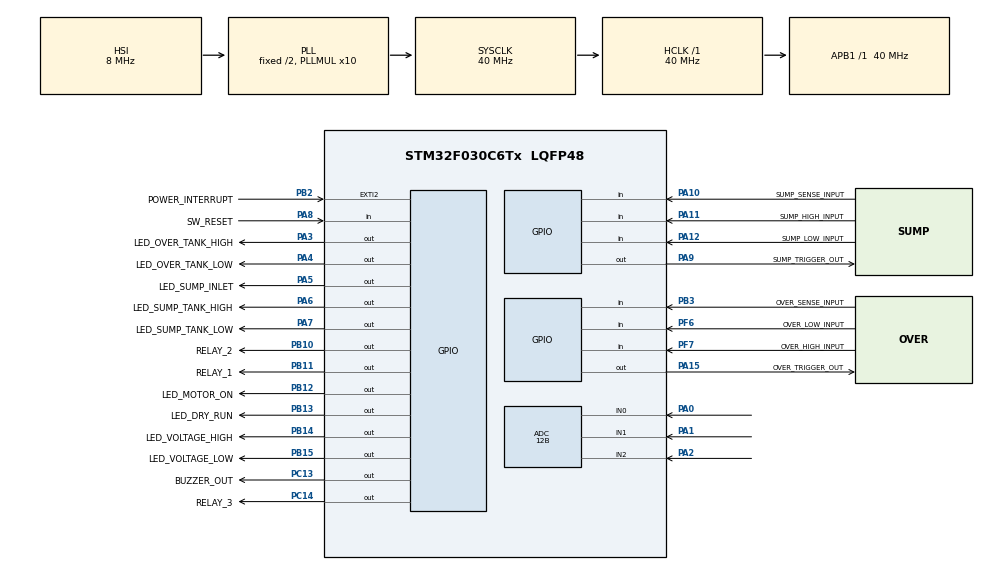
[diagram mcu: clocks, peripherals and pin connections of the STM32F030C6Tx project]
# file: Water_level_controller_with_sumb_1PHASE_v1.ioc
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ADC.ClockPrescaler=ADC_CLOCK_SYNC_PCLK_DIV4
ADC.ContinuousConvMode=DISABLE
ADC.DMAContinuousRequests=ENABLE
ADC.DataAlign=ADC_DATAALIGN_RIGHT
ADC.DiscontinuousConvMode=DISABLE
ADC.EOCSelection=ADC_EOC_SEQ_CONV
ADC.EnableAnalogWatchDog=false
ADC.ExternalTrigConv=ADC_EXTERNALTRIGCONV_T3_TRGO
ADC.ExternalTrigConvEdge=ADC_EXTERNALTRIGCONVEDGE_RISING
ADC.LowPowerAutoPowerOff=DISABLE
ADC.LowPowerAutoWait=DISABLE
ADC.Overrun=ADC_OVR_DATA_PRESERVED
ADC.Resolution=ADC_RESOLUTION_12B
ADC.SamplingTime=ADC_SAMPLETIME_239CYCLES_5
ADC.ScanConvMode=ADC_SCAN_DIRECTION_FORWARD
Dma.ADC.0.Direction=DMA_PERIPH_TO_MEMORY
Dma.ADC.0.Instance=DMA1_Channel1
Dma.ADC.0.MemDataAlignment=DMA_MDATAALIGN_HALFWORD
Dma.ADC.0.MemInc=DMA_MINC_ENABLE
Dma.ADC.0.Mode=DMA_CIRCULAR
Dma.ADC.0.PeriphDataAlignment=DMA_PDATAALIGN_HALFWORD
Dma.ADC.0.PeriphInc=DMA_PINC_DISABLE
Dma.ADC.0.Priority=DMA_PRIORITY_LOW
Dma.Request0=ADC
Mcu.Family=STM32F0
Mcu.Name=STM32F030C6Tx
Mcu.Package=LQFP48
NVIC.DMA1_Channel1_IRQn=true\:0\:0\:false\:false\:true\:false
NVIC.EXTI2_3_IRQn=true\:3\:0\:true\:false\:true\:true
NVIC.TIM14_IRQn=true\:0\:0\:false\:false\:true\:true
NVIC.TIM16_IRQn=true\:0\:0\:false\:false\:true\:true
NVIC.TIM1_BRK_UP_TRG_COM_IRQn=true\:0\:0\:false\:false\:true\:true
PA0.Mode=IN0
PA0.Signal=ADC_IN0
PA1.Mode=IN1
PA1.Signal=ADC_IN1
PA10.GPIO_Label=SUMP_SENSE_INPUT
PA10.GPIO_PuPd=GPIO_PULLUP
PA10.Signal=GPIO_Input
PA11.GPIO_Label=SUMP_HIGH_INPUT
PA11.GPIO_PuPd=GPIO_PULLUP
PA11.Signal=GPIO_Input
PA12.GPIO_Label=SUMP_LOW_INPUT
PA12.GPIO_PuPd=GPIO_PULLUP
PA12.Signal=GPIO_Input
PA13.Mode=Serial_Wire
PA13.Signal=SYS_SWDIO
PA14.Mode=Serial_Wire
PA14.Signal=SYS_SWCLK
PA15.GPIO_Label=OVER_TRIGGER_OUT
PA15.GPIO_Speed=GPIO_SPEED_FREQ_LOW
PA15.Signal=GPIO_Output
PA2.Mode=IN2
PA2.Signal=ADC_IN2
PA3.GPIO_Label=LED_OVER_TANK_HIGH
PA3.GPIO_ModeDefaultOutputPP=GPIO_MODE_OUTPUT_OD
PA3.Signal=GPIO_Output
PA4.GPIO_Label=LED_OVER_TANK_LOW
PA4.GPIO_ModeDefaultOutputPP=GPIO_MODE_OUTPUT_OD
PA4.Signal=GPIO_Output
PA5.GPIO_Label=LED_SUMP_INLET
PA5.GPIO_ModeDefaultOutputPP=GPIO_MODE_OUTPUT_OD
PA5.Signal=GPIO_Output
PA6.GPIO_Label=LED_SUMP_TANK_HIGH
PA6.GPIO_ModeDefaultOutputPP=GPIO_MODE_OUTPUT_OD
PA6.Signal=GPIO_Output
PA7.GPIO_Label=LED_SUMP_TANK_LOW
PA7.GPIO_ModeDefaultOutputPP=GPIO_MODE_OUTPUT_OD
PA7.Signal=GPIO_Output
PA8.GPIO_Label=SW_RESET
PA8.GPIO_PuPd=GPIO_PULLUP
PA8.Signal=GPIO_Input
PA9.GPIO_Label=SUMP_TRIGGER_OUT
PA9.Signal=GPIO_Output
PB10.GPIO_Label=RELAY_2
PB10.Signal=GPIO_Output
PB11.GPIO_Label=RELAY_1
PB11.Signal=GPIO_Output
PB12.GPIO_Label=LED_MOTOR_ON
PB12.GPIO_ModeDefaultOutputPP=GPIO_MODE_OUTPUT_OD
PB12.Signal=GPIO_Output
PB13.GPIO_Label=LED_DRY_RUN
PB13.GPIO_ModeDefaultOutputPP=GPIO_MODE_OUTPUT_OD
PB13.Signal=GPIO_Output
PB14.GPIO_Label=LED_VOLTAGE_HIGH
PB14.GPIO_ModeDefaultOutputPP=GPIO_MODE_OUTPUT_OD
PB14.Signal=GPIO_Output
PB15.GPIO_Label=LED_VOLTAGE_LOW
PB15.GPIO_ModeDefaultOutputPP=GPIO_MODE_OUTPUT_OD
PB15.Signal=GPIO_Output
PB2.GPIO_Label=POWER_INTERRUPT
PB2.GPIO_ModeDefaultEXTI=GPIO_MODE_IT_FALLING
PB2.GPIO_PuPd=GPIO_NOPULL
PB2.Signal=GPXTI2
PB3.GPIO_Label=OVER_SENSE_INPUT
PB3.GPIO_PuPd=GPIO_PULLUP
PB3.Signal=GPIO_Input
PC13.GPIO_Label=BUZZER_OUT
PC13.GPIO_ModeDefaultOutputPP=GPIO_MODE_OUTPUT_PP
PC13.Signal=GPIO_Output
PC14-OSC32_IN.GPIO_Label=RELAY_3
PC14-OSC32_IN.Signal=GPIO_Output
PF6.GPIO_Label=OVER_LOW_INPUT
PF6.GPIO_PuPd=GPIO_PULLUP
PF6.Signal=GPIO_Input
PF7.GPIO_Label=OVER_HIGH_INPUT
PF7.GPIO_PuPd=GPIO_PULLUP
PF7.Signal=GPIO_Input
ProjectManager.HeapSize=0x200
ProjectManager.StackSize=0x400
ProjectManager.TargetToolchain=TrueSTUDIO
RCC.AHBFreq_Value=40000000
RCC.APB1Freq_Value=40000000
RCC.APB1TimFreq_Value=40000000
RCC.HCLKFreq_Value=40000000
RCC.PLLMUL=RCC_PLL_MUL10
RCC.SYSCLKFreq_VALUE=40000000
RCC.SYSCLKSource=RCC_SYSCLKSOURCE_PLLCLK
TIM1.ClockDivision=TIM_CLOCKDIVISION_DIV1
TIM1.Period=1001
TIM1.Prescaler=40000
TIM1.TIM_MasterOutputTrigger=TIM_TRGO_UPDATE
TIM14.ClockDivision=TIM_CLOCKDIVISION_DIV1
TIM14.Period=2001
TIM14.Prescaler=40000
TIM16.ClockDivision=TIM_CLOCKDIVISION_DIV1
TIM16.Period=1001
TIM16.Prescaler=40000
TIM3.ClockDivision=TIM_CLOCKDIVISION_DIV4
TIM3.Period=30000
TIM3.Prescaler=500
TIM3.TIM_MasterOutputTrigger=TIM_TRGO_UPDATE
VP_RTC_VS_RTC_Activate.Mode=RTC_Enabled
VP_RTC_VS_RTC_Calendar.Mode=RTC_Calendar
VP_TIM14_VS_ClockSourceINT.Mode=Enable_Timer
VP_TIM16_VS_ClockSourceINT.Mode=Enable_Timer
VP_TIM1_VS_ClockSourceINT.Mode=Internal
VP_TIM3_VS_ClockSourceINT.Mode=Internal
board=custom

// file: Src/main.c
/**
  ******************************************************************************
  * @file           : main.c
  * @brief          : Main program body
  ******************************************************************************
  ** This notice applies to any and all portions of this file
  * that are not between comment pairs USER CODE BEGIN and
  * USER CODE END. Other portions of this file, whether
  * inserted by the user or by software development tools
  * are owned by their respective copyright owners.
  *
  * COPYRIGHT(c) 2019 STMicroelectronics
  *
  * Redistribution and use in source and binary forms, with or without modification,
  * are permitted provided that the following conditions are met:
  *   1. Redistributions of source code must retain the above copyright notice,
  *      this list of conditions and the following disclaimer.
  *   2. Redistributions in binary form must reproduce the above copyright notice,
  *      this list of conditions and the following disclaimer in the documentation
  *      and/or other materials provided with the distribution.
  *   3. Neither the name of STMicroelectronics nor the names of its contributors
  *      may be used to endorse or promote products derived from this software
  *      without specific prior written permission.
  *
  * THIS SOFTWARE IS PROVIDED BY THE COPYRIGHT HOLDERS AND CONTRIBUTORS "AS IS"
  * AND ANY EXPRESS OR IMPLIED WARRANTIES, INCLUDING, BUT NOT LIMITED TO, THE
  * IMPLIED WARRANTIES OF MERCHANTABILITY AND FITNESS FOR A PARTICULAR PURPOSE ARE
  * DISCLAIMED. IN NO EVENT SHALL THE COPYRIGHT HOLDER OR CONTRIBUTORS BE LIABLE
  * FOR ANY DIRECT, INDIRECT, INCIDENTAL, SPECIAL, EXEMPLARY, OR CONSEQUENTIAL
  * DAMAGES (INCLUDING, BUT NOT LIMITED TO, PROCUREMENT OF SUBSTITUTE GOODS OR
  * SERVICES; LOSS OF USE, DATA, OR PROFITS; OR BUSINESS INTERRUPTION) HOWEVER
  * CAUSED AND ON ANY THEORY OF LIABILITY, WHETHER IN CONTRACT, STRICT LIABILITY,
  * OR TORT (INCLUDING NEGLIGENCE OR OTHERWISE) ARISING IN ANY WAY OUT OF THE USE
  * OF THIS SOFTWARE, EVEN IF ADVISED OF THE POSSIBILITY OF SUCH DAMAGE.
  *
  ******************************************************************************
  */
#include "main.h"
#include "stm32f0xx_hal.h"

/* USER CODE BEGIN Includes */
#include "stdbool.h"
#include "eeprom.h"
#define LOW_VOLTAGE  180         //MACRO FOR LOW VOLTAGE LEVEL
#define OVER_VOLTAGE 250         //MACRO FOR HIGH VOLTAGE LEVEL

/* USER CODE END Includes */

ADC_HandleTypeDef hadc;
DMA_HandleTypeDef hdma_adc;
RTC_HandleTypeDef hrtc;
TIM_HandleTypeDef htim1;
TIM_HandleTypeDef htim3;
TIM_HandleTypeDef htim14;
TIM_HandleTypeDef htim16;

/* USER CODE BEGIN PV */
/* Private variables ---------------------------------------------------------*/
RTC_TimeTypeDef sTime,bTime;
RTC_DateTypeDef sDate;
uint16_t adc_raw[3],Phase_voltage;
uint8_t Adc_sample = 1;
uint32_t Avg_voltage = 0 ;
uint8_t  Over_tank_level  = 0 ,Sump_tank_level = 0 ;
int32_t  Restart_time , Dry_run_time ,Dry_run_count,Restart_time_count;
bool Motor_auto_start =false  , Motor_on = false ,Over_tank_water_flow = false,Sump_tank_water_flow = false , Dry_run_wait = true ,Dry_run_error = false,Power_interrupt_state = false, Water_sump_indiaction = false ;
uint16_t VirtAddVarTab[NB_OF_VAR] = {0x1000,0x1001,0x1002,0x1003,0x1004,0x1005,0x1006,0x1008,0x1009,0x1010};
uint16_t VarDataTab[NB_OF_VAR]    = {1,2,3,4,5,6,7,8,9,10,11};
uint16_t VarValue = 0;

/* USER CODE END PV */

void SystemClock_Config(void);
static void MX_GPIO_Init(void);
static void MX_DMA_Init(void);
static void MX_ADC_Init(void);
static void MX_TIM3_Init(void);
static void MX_TIM14_Init(void);
static void MX_RTC_Init(void);
static void MX_TIM1_Init(void);
static void MX_TIM16_Init(void);

/* USER CODE BEGIN PFP */
/* Private function prototypes -----------------------------------------------*/

//HAL_GPIO_EXTI_Callback(POWER_INTERRUPT_Pin)
//{
//
//
//
//}

void HAL_ADC_ConvCpltCallback(ADC_HandleTypeDef *hadc) //adc with dma ISR
{

Adc_sample ++;
Avg_voltage += adc_raw[0];
if(Adc_sample>=10)
{
	Phase_voltage  = (Avg_voltage/Adc_sample)/10;
	Phase_voltage += 10;
	Avg_voltage    = 0 ;
	Adc_sample     = 0 ;
}

}

void Get_time_date() // get time and date from rtc
{

HAL_RTC_GetTime(&hrtc,&sTime,RTC_FORMAT_BIN);
HAL_RTC_GetDate(&hrtc,&sDate,RTC_FORMAT_BIN);

}

void Buzzer_sound(uint8_t Pulse , uint32_t Delay)
{

for(uint8_t i = 0 ; i<Pulse;i++)
{
HAL_GPIO_WritePin(GPIOC,BUZZER_OUT_Pin,GPIO_PIN_SET);
HAL_Delay(Delay);
HAL_GPIO_WritePin(GPIOC,BUZZER_OUT_Pin,GPIO_PIN_RESET);
HAL_Delay(Delay);
}

}

int32_t Map(int32_t x, int32_t in_min, int32_t in_max, int32_t out_min, int32_t out_max)
{
  return (x - in_min) * (out_max - out_min) / (in_max - in_min) + out_min;
}

void motor_control_loop() // motor control function for turn on and off motor
{

   	if(Motor_on == false)
    	{
   	     Buzzer_sound(1,300);                                      //function call for buzzer sound
    	// HAL_GPIO_WritePin(GPIOB ,RELAY_1_Pin|RELAY_2_Pin,GPIO_PIN_SET);       // TRUN ON relay 2 //(START RELAY)
    	 HAL_GPIO_WritePin(GPIOC ,RELAY_3_Pin,GPIO_PIN_SET);       // TURN ON relay 3 //(START RELAY 1 PHASE )
    	 HAL_Delay(3000);                                          // MOTOR starting wait time 3 sec
    	// HAL_GPIO_WritePin(GPIOB ,RELAY_2_Pin,GPIO_PIN_RESET);     // TRUN OFF relay 2 //(START RELAY)
    	// HAL_GPIO_WritePin(GPIOC ,RELAY_3_Pin,GPIO_PIN_RESET);     // TRUN OFF relay 3 //(START RELAY 1 PHASE)
    	 Dry_run_time = Map(adc_raw[1],0,4095,60,240);               // Read tha dry run sense POT and mab tha value to minimum= 1 minutes to max 20min
    	 Motor_on = true ;                                         // UPDATE Variable to current state
    	 HAL_TIM_Base_Stop_IT(&htim1);                             //stop Timer 1 interrupt
    	 HAL_TIM_Base_Init(&htim1)  ;                               // setting values Basic Timer interrupt
    	 HAL_TIM_Base_Start_IT(&htim1);                            // enable Timer 1 interrupt to generate 1 sec delay

    	}

        if(Dry_run_wait != true)                                   // wait until dry run reset time
        {
         HAL_TIM_Base_Stop_IT(&htim1);                             //stop Timer 1 interrupt
         if(Over_tank_water_flow==false)                           // check over tank water flow status
         {

        //  HAL_GPIO_WritePin(GPIOB,RELAY_1_Pin,GPIO_PIN_RESET);    // stop the motor for dry run condtion
          HAL_GPIO_WritePin(GPIOC ,RELAY_3_Pin,GPIO_PIN_RESET);       // TURN OFF relay 3 //(START RELAY 1 PHASE )
          Dry_run_error = true ;                                  // SET DRY RUN ERROR BIT  to high
          Motor_on = false ;                                      // update motor off state
          Restart_time = Map(adc_raw[2],0,4095,3600,43200);           // get the dryrun_restart POT value and mab into time in minutes
          HAL_TIM_Base_Stop_IT(&htim16);                          // stop timer if run
          HAL_TIM_Base_Init(&htim16)  ;                           // inti timer-16
          HAL_TIM_Base_Start_IT(&htim16);                         // start timer16 isr
          Dry_run_wait = true ;                                   // clear dry run wait bit for next execution
          Buzzer_sound(3,300);                                    //fuction call for buzzer sound
         }

        }

}

void reset_default()
{
	Motor_on      = false ;
	Dry_run_error = false ;
	Dry_run_wait  = true  ;                                       // clear all variable to default value
	Motor_auto_start = true;
	HAL_TIM_Base_Stop_IT(&htim1);
	HAL_TIM_Base_Stop_IT(&htim16);
	HAL_TIM_Base_Init(&htim1) ;
	HAL_TIM_Base_Init(&htim16);
	Restart_time_count = 0 ;
	Dry_run_count      = 0 ;            //

}

void HAL_TIM_PeriodElapsedCallback(TIM_HandleTypeDef* htim) //ISR for LEVEL_sensor checking
{

	//  HAL_GPIO_TogglePin(GPIOB,LED_VOLTAGE_LOW_Pin);   // TEST DEBUG CODE
	if(htim->Instance == htim14.Instance)
	{
	  if((HAL_GPIO_ReadPin(GPIOF,OVER_LOW_INPUT_Pin)==GPIO_PIN_SET)&&(HAL_GPIO_ReadPin(GPIOF,OVER_HIGH_INPUT_Pin)==GPIO_PIN_SET))
	  {

		    Over_tank_level = 1 ;  //TANK level is empty
		    HAL_GPIO_WritePin(GPIOA,LED_OVER_TANK_LOW_Pin,GPIO_PIN_RESET);// Over tank low  led ON
		    HAL_GPIO_WritePin(GPIOA,LED_OVER_TANK_HIGH_Pin,GPIO_PIN_SET);// Over tank hIGH  led Off

	  }
	  if((HAL_GPIO_ReadPin(GPIOF,OVER_LOW_INPUT_Pin)==GPIO_PIN_RESET)&&(HAL_GPIO_ReadPin(GPIOF,OVER_HIGH_INPUT_Pin)==GPIO_PIN_SET))
	  {
		    Over_tank_level = 2 ;//TANK level is half empty
			HAL_GPIO_WritePin(GPIOA,LED_OVER_TANK_LOW_Pin,GPIO_PIN_SET);// Over tank low  led Off
			HAL_GPIO_WritePin(GPIOA,LED_OVER_TANK_HIGH_Pin,GPIO_PIN_SET);// Over tank hIGH  led Off

	  }
	  if((HAL_GPIO_ReadPin(GPIOF,OVER_LOW_INPUT_Pin)==GPIO_PIN_RESET)&&(HAL_GPIO_ReadPin(GPIOF,OVER_HIGH_INPUT_Pin)==GPIO_PIN_RESET))
	  {

		    Over_tank_level = 3 ;//TANK level is full
		    HAL_GPIO_WritePin(GPIOA,LED_OVER_TANK_HIGH_Pin,GPIO_PIN_RESET); // Over tank hIGH  led ON
		    HAL_GPIO_WritePin(GPIOA,LED_OVER_TANK_LOW_Pin,GPIO_PIN_SET);    // Over tank low  led OFF

	  }
	  if((HAL_GPIO_ReadPin(GPIOF,OVER_LOW_INPUT_Pin)==GPIO_PIN_SET)&&(HAL_GPIO_ReadPin(GPIOF,OVER_HIGH_INPUT_Pin)==GPIO_PIN_RESET))
	  {
		  Over_tank_level = 10 ;// error sensor stage ;
		  HAL_GPIO_WritePin(GPIOA,LED_OVER_TANK_HIGH_Pin,GPIO_PIN_SET);// Over tank hIGH  led OFF
		  HAL_GPIO_WritePin(GPIOA,LED_OVER_TANK_LOW_Pin,GPIO_PIN_SET); // Over tank low  led OFF

	  }

	  //-------------------------------------------------sump sensor ------------------------------------//
	  if((HAL_GPIO_ReadPin(GPIOA,SUMP_LOW_INPUT_Pin)==GPIO_PIN_SET)&&(HAL_GPIO_ReadPin(GPIOA,SUMP_HIGH_INPUT_Pin)==GPIO_PIN_SET))
	  {

		    Sump_tank_level = 1 ;  //TANK level is empty
		    HAL_GPIO_WritePin(GPIOA,LED_SUMP_TANK_LOW_Pin,GPIO_PIN_RESET);// Over tank low  led ON
		    HAL_GPIO_WritePin(GPIOA,LED_SUMP_TANK_HIGH_Pin,GPIO_PIN_SET); // Over tank hIGH  led Off

	  }
	  if((HAL_GPIO_ReadPin(GPIOA,SUMP_LOW_INPUT_Pin)==GPIO_PIN_RESET)&&(HAL_GPIO_ReadPin(GPIOA,SUMP_HIGH_INPUT_Pin)==GPIO_PIN_SET))
	  {
		    Sump_tank_level = 2 ;//TANK level is half empty
			HAL_GPIO_WritePin(GPIOA,LED_SUMP_TANK_LOW_Pin,GPIO_PIN_SET); // Over tank low  led Off
			HAL_GPIO_WritePin(GPIOA,LED_SUMP_TANK_HIGH_Pin,GPIO_PIN_SET);// Over tank hIGH  led Off

	  }
	  if((HAL_GPIO_ReadPin(GPIOA,SUMP_LOW_INPUT_Pin)==GPIO_PIN_RESET)&&(HAL_GPIO_ReadPin(GPIOA,SUMP_HIGH_INPUT_Pin)==GPIO_PIN_RESET))
	  {

		    Sump_tank_level = 3 ;//TANK level is full
		    HAL_GPIO_WritePin(GPIOA,LED_SUMP_TANK_HIGH_Pin,GPIO_PIN_RESET); // Over tank hIGH  led ON
		    HAL_GPIO_WritePin(GPIOA,LED_SUMP_TANK_LOW_Pin,GPIO_PIN_SET);    // Over tank low  led OFF

	  }
	  if((HAL_GPIO_ReadPin(GPIOA,SUMP_LOW_INPUT_Pin)==GPIO_PIN_SET)&&(HAL_GPIO_ReadPin(GPIOA,SUMP_HIGH_INPUT_Pin)==GPIO_PIN_RESET))
	  {
		  Sump_tank_level = 10 ;// error sensor stage ;
		  HAL_GPIO_WritePin(GPIOA,LED_SUMP_TANK_HIGH_Pin,GPIO_PIN_SET); // Over tank hIGH  led OFF
		  HAL_GPIO_WritePin(GPIOA,LED_SUMP_TANK_LOW_Pin,GPIO_PIN_SET);  // Over tank low  led OFF

	  }

	  //-------------------------------------------------sump sensor check end --------------------------//
	  if(Phase_voltage>=OVER_VOLTAGE) // voltage Level checking
	  {
             Over_tank_level = 4;// over voltage state
		     HAL_GPIO_WritePin(GPIOB , LED_VOLTAGE_HIGH_Pin,GPIO_PIN_RESET);//over voltage led ON
		     HAL_GPIO_WritePin(GPIOB , LED_VOLTAGE_LOW_Pin ,GPIO_PIN_SET);  //low voltage led OFF

	  }
	  else if(Phase_voltage <=LOW_VOLTAGE)
	  {
		     Over_tank_level = 4;// low voltage state
		     HAL_GPIO_WritePin(GPIOB , LED_VOLTAGE_HIGH_Pin,GPIO_PIN_SET);//over voltage led ON
		     HAL_GPIO_WritePin(GPIOB , LED_VOLTAGE_LOW_Pin ,GPIO_PIN_RESET);  //low voltage led OFF

	  }
	  else
	  {

		     HAL_GPIO_WritePin(GPIOB , LED_VOLTAGE_HIGH_Pin,GPIO_PIN_SET);//over voltage led ON
		     HAL_GPIO_WritePin(GPIOB , LED_VOLTAGE_LOW_Pin ,GPIO_PIN_SET);  //low voltage led OFF

	  }

       if( Sump_tank_water_flow  == true)
       {
    	   HAL_GPIO_TogglePin (GPIOA , LED_SUMP_INLET_Pin);  // over tank inlet water flow status
       }
       else
       {
    	  HAL_GPIO_WritePin  (GPIOA,LED_SUMP_INLET_Pin,GPIO_PIN_SET); // LED TURN OFF when no water flow
    	  Water_sump_indiaction = false ;                             // sump water flow indication reset for next time incation
       }

	}

	if(htim->Instance == htim1.Instance) // Timer 1 ISR Handler
	{

		//HAL_GPIO_TogglePin(GPIOA,LED_SUMP_TANK_HIGH_Pin); // test code
		Dry_run_count++;                                  // increment dryrun count in each 1 min interrupt
		if(Dry_run_count>=Dry_run_time)
		{

			Dry_run_wait = false ; // clear dry run wait bit to next execution
			Dry_run_count = 0;     //reset dry run count variable for next time use

		}

	}

	if(htim->Instance == htim16.Instance)
	{
		//HAL_GPIO_TogglePin(GPIOA,LED_SUMP_TANK_LOW_Pin); // test code
		Restart_time_count++;
		if(Restart_time_count>=Restart_time)
		{
			Dry_run_error = false ;
			Restart_time_count = 0 ;

		}

	}

}

void HAL_GPIO_EXTI_Callback(uint16_t GPIO_Pin)
{
  if (GPIO_Pin == POWER_INTERRUPT_Pin )
  {

	 // HAL_GPIO_TogglePin(GPIOA,LED_SUMP_TANK_LOW_Pin);
	  EE_WriteVariable(VirtAddVarTab[0] , (uint16_t)Dry_run_error);
	  EE_WriteVariable(VirtAddVarTab[1],  (uint16_t)Restart_time_count);
	  EE_WriteVariable(VirtAddVarTab[2],  (uint16_t)Restart_time);
	  EE_WriteVariable(VirtAddVarTab[3],  (uint16_t)Motor_auto_start);
	  Power_interrupt_state = false ;
	  HAL_NVIC_DisableIRQ(EXTI2_3_IRQn);

  }
}
/* USER CODE END PFP */

int main(void)
{

  /* MCU Configuration----------------------------------------------------------*/

  /* Reset of all peripherals, Initializes the Flash interface and the Systick. */
  HAL_Init();

  /* Configure the system clock */
  SystemClock_Config();

  /* Initialize all configured peripherals */
  MX_GPIO_Init();
  MX_DMA_Init();
  MX_ADC_Init();
  MX_TIM3_Init();
  MX_TIM14_Init();
  MX_RTC_Init();
  MX_TIM1_Init();
  MX_TIM16_Init();
  /* USER CODE BEGIN 2 */
  HAL_ADC_Start_DMA(&hadc,(uint32_t *)adc_raw,3);
  HAL_TIM_Base_Start(&htim3);
  HAL_TIM_Base_Start_IT(&htim14);
  //HAL_GPIO_WritePin(GPIOA,LED_SUMP_TANK_HIGH_Pin|LED_SUMP_TANK_LOW_Pin , GPIO_PIN_SET);
  HAL_FLASH_Unlock();
  EE_Init();

//  /* read the last stored variables data*/

  EE_ReadVariable(VirtAddVarTab[0], &VarDataTab[0]); //read flash value
  EE_ReadVariable(VirtAddVarTab[1], &VarDataTab[1]); //
  EE_ReadVariable(VirtAddVarTab[2], &VarDataTab[2]); //
  EE_ReadVariable(VirtAddVarTab[3], &VarDataTab[3]); //
  if(VarDataTab[3] >= 1) //
  {

	Motor_auto_start = true;            // motor auto start is enabled

  }
  else
  {

  Motor_auto_start = false;             // motor auto start is disabled

  }
  if(VarDataTab[0] >= 1)                // check power failure state
 {
 Dry_run_error = true ;
 if((VarDataTab[1]>=1)&&(VarDataTab[1]<=43200)) //check data in correct value
 {

	 Restart_time_count = VarDataTab[1] ;       //restore the restart time from flash
	 Restart_time       = VarDataTab[2] ;       //restore the restart POT value
	 HAL_TIM_Base_Start_IT(&htim16);            // start timer16 isr to time remaining
 }

 }
 else
 {

  Dry_run_error = false ;                       // dry run not accrued

 }

  /* USER CODE END 2 */

  /* Infinite loop */
  /* USER CODE BEGIN WHILE */
  while (1)
  {

	  if(HAL_GPIO_ReadPin(GPIOA,SW_RESET_Pin)==GPIO_PIN_RESET)       //reset switch
	  {

	  HAL_Delay(100);                                                 // wait for switch de-bounce
      if(HAL_GPIO_ReadPin(GPIOA,SW_RESET_Pin)==GPIO_PIN_RESET)        //read reset switch state
      {
    	HAL_GPIO_WritePin(GPIOB ,RELAY_1_Pin,GPIO_PIN_RESET);         // stop the motor for reset condition
    	HAL_GPIO_WritePin(GPIOB ,RELAY_2_Pin,GPIO_PIN_RESET);         // TRUN OFF relay 2 //(START RELAY)
    	HAL_GPIO_WritePin(GPIOC ,RELAY_3_Pin,GPIO_PIN_RESET);         // TRUN OFF relay 3 //(START RELAY 1 PHASE)
    	HAL_GPIO_WritePin(GPIOB ,LED_MOTOR_ON_Pin,GPIO_PIN_SET);          // TURN OFF  motor_on led
    	reset_default();                                              // call function to reset the variable to default value
    	Buzzer_sound(1,200);                                          // buzzer sound for 2 time on off
    	HAL_Delay(1000);                                              // wait for 10 sec delay
      }
	  }

      Get_time_date();
      if((sTime.Seconds%10) == 1) // CONTACT SENSOR checking for every 10 sec
      {

    		HAL_GPIO_WritePin(GPIOA ,OVER_TRIGGER_OUT_Pin,GPIO_PIN_SET);      // enable the over trigger pin high
    		HAL_GPIO_WritePin(GPIOA ,SUMP_TRIGGER_OUT_Pin,GPIO_PIN_SET);      // enable the sump trigger pin high
    	    HAL_Delay(500);                                                   // wait for 5 sec

    	    if(HAL_GPIO_ReadPin(GPIOB,OVER_SENSE_INPUT_Pin)== GPIO_PIN_RESET) // read the pin state
    	    {

    	      Over_tank_water_flow =  true ; // set high water flow is present

    	    }
    	    else //
    	    {

    	     Over_tank_water_flow  =  false ;// set low for water flow not detected

    	    }

    	    if(HAL_GPIO_ReadPin(GPIOA,SUMP_SENSE_INPUT_Pin) == GPIO_PIN_RESET)
    	    {

    	     Sump_tank_water_flow  = true ;	// set high

    	    }

    	    else
    	    {

    	    	Sump_tank_water_flow  = false ;	// set high

    	    }

    	    HAL_GPIO_WritePin(GPIOA ,OVER_TRIGGER_OUT_Pin,GPIO_PIN_RESET);//disable the trigger pin low
            HAL_GPIO_WritePin(GPIOA ,SUMP_TRIGGER_OUT_Pin,GPIO_PIN_RESET);//disable the trigger pin low

      }

    	if(Power_interrupt_state == false)
    	{
    	    if(sTime.Seconds>=30)
    	    {
    		HAL_NVIC_EnableIRQ(EXTI2_3_IRQn);
            Power_interrupt_state = true ;

    	    }

    	}

      if(Motor_on == true) //check Motor Status
        {

         HAL_GPIO_WritePin(GPIOB,LED_MOTOR_ON_Pin,GPIO_PIN_RESET);	// turn the Motor led ON

        }
      else
      {

        HAL_GPIO_WritePin(GPIOB,LED_MOTOR_ON_Pin,GPIO_PIN_SET);    // turn the motor led OFF

      }
      if(Dry_run_error == true)                                   // check dry run error flage
      {
    	HAL_GPIO_WritePin(GPIOB,LED_DRY_RUN_Pin,GPIO_PIN_RESET);  // turn the dry run error LED ON

      }
      else
      {

    	HAL_GPIO_WritePin(GPIOB,LED_DRY_RUN_Pin,GPIO_PIN_SET);  // turn the dry run error LED OFF
    	HAL_TIM_Base_Stop_IT(&htim16);

      }

  if(Dry_run_error == false) // check dry run flag if not true the normal execution state
    {
      switch( Over_tank_level )// mode of execution
      {

      case 1:// tank empty state
      {
    	  Motor_auto_start = true; // motor auto turn on this flage cleared when tank get full also used for power resume
    	 if((Sump_tank_level != 1 )&&((Sump_tank_level != 10 )))
    	 {

    		 motor_control_loop();

    	 }

      break;
      }
      case 2://tank half empty
      {
         if(Motor_auto_start == true)
         {
        	 if((Sump_tank_level != 1 )&&((Sump_tank_level != 10 )))
        	 {

        	  motor_control_loop();

        	 }
         }

      break;
      }
      case 3://tank full
      {

    	  if(Motor_on == true)
    	  {
    		//  HAL_GPIO_WritePin (GPIOB,RELAY_1_Pin|RELAY_2_Pin,GPIO_PIN_RESET); //turn off relay1,2
    		  HAL_GPIO_WritePin (GPIOC,RELAY_3_Pin,GPIO_PIN_RESET);             //turn off relay 3
    		  HAL_Delay(100);
    		  reset_default();
    		  Buzzer_sound(2,300);

    	  }

      Motor_auto_start = false ;
      break;
      }
      case 4://high and low voltage error
      {
    	  if(Motor_on == true)
    	  {
    	//  HAL_GPIO_WritePin (GPIOB,RELAY_1_Pin|RELAY_2_Pin,GPIO_PIN_RESET); //turn off relay1,2
      	  HAL_GPIO_WritePin (GPIOC,RELAY_3_Pin,GPIO_PIN_RESET);             //turn off relay 3
      	  Motor_on = false ;
          HAL_TIM_Base_Stop_IT(&htim1);
      	  HAL_TIM_Base_Stop_IT(&htim16);
      	  HAL_TIM_Base_Init(&htim1);
      	  HAL_TIM_Base_Init(&htim16);

    	  }

      break;
      }
      case 10:// sensor error stage Toggle OVER Tank high and  low LED ,buzzer
      {

    	  HAL_GPIO_TogglePin(GPIOA,LED_OVER_TANK_HIGH_Pin|LED_OVER_TANK_LOW_Pin);
    	  HAL_GPIO_TogglePin(GPIOC,BUZZER_OUT_Pin);
    	//  HAL_GPIO_WritePin (GPIOB,RELAY_1_Pin|RELAY_2_Pin,GPIO_PIN_RESET);
    	  HAL_GPIO_WritePin (GPIOC,RELAY_3_Pin,GPIO_PIN_RESET);             //turn off relay 3
    	  HAL_Delay(500);
          HAL_TIM_Base_Stop_IT(&htim1);
      	  HAL_TIM_Base_Stop_IT(&htim16);
      	  HAL_TIM_Base_Init(&htim1) ;
      	  HAL_TIM_Base_Init(&htim16);
          break;
      }

      }
} // dry run execution end condition

  // -------------------- sump tank level ---------------------------------//

  switch(Sump_tank_level )// mode of execution
  {

  case 1:// tank empty state
  {

	  if(Motor_on == true)
	  {

		//  HAL_GPIO_WritePin (GPIOB,RELAY_1_Pin|RELAY_2_Pin,GPIO_PIN_RESET); //turn off relay1,2
		  HAL_GPIO_WritePin (GPIOC,RELAY_3_Pin,GPIO_PIN_RESET);             //turn off relay 3
		  HAL_Delay(100);
		  reset_default();
		  Buzzer_sound(2,300);

	  }

  break;
  }
  case 2://tank half empty
  {

  break;
  }
  case 3://tank full
  {
	  Motor_auto_start = true;// motor auto start when sumb is full

  break;
  }

  case 10:// sensor error stage Toggle OVER Tank high and  low LED ,buzzer
  {

	  HAL_GPIO_TogglePin(GPIOA,LED_SUMP_TANK_HIGH_Pin|LED_SUMP_TANK_LOW_Pin);
	  Buzzer_sound(1,300);                                          // buzzer sound for 2 time on off
	 // HAL_GPIO_WritePin (GPIOB,RELAY_1_Pin|RELAY_2_Pin,GPIO_PIN_RESET);
	  HAL_GPIO_WritePin (GPIOC,RELAY_3_Pin,GPIO_PIN_RESET);             //turn off relay 3
	  HAL_TIM_Base_Stop_IT(&htim1);
  	  HAL_TIM_Base_Stop_IT(&htim16);
  	  HAL_TIM_Base_Init(&htim1) ;
  	  HAL_TIM_Base_Init(&htim16);
	  break;
  }

  }

  // -------------------- sump tank level end -----------------------------//

      if(Over_tank_level != 10)
      {

      HAL_GPIO_WritePin(GPIOC,BUZZER_OUT_Pin,GPIO_PIN_RESET);

      }

      if(Water_sump_indiaction == false)
      {
    	if(Sump_tank_water_flow == true)
    	{

    		Buzzer_sound(30,300);
    		Water_sump_indiaction = true ;

    	}

      }
  /* USER CODE END WHILE */

  }

}

void SystemClock_Config(void)
{

  RCC_OscInitTypeDef RCC_OscInitStruct;
  RCC_ClkInitTypeDef RCC_ClkInitStruct;
  RCC_PeriphCLKInitTypeDef PeriphClkInit;

    /**Initializes the CPU, AHB and APB busses clocks
    */
  RCC_OscInitStruct.OscillatorType = RCC_OSCILLATORTYPE_HSI|RCC_OSCILLATORTYPE_LSI;
  RCC_OscInitStruct.HSIState = RCC_HSI_ON;
  RCC_OscInitStruct.HSICalibrationValue = 16;
  RCC_OscInitStruct.LSIState = RCC_LSI_ON;
  RCC_OscInitStruct.PLL.PLLState = RCC_PLL_ON;
  RCC_OscInitStruct.PLL.PLLSource = RCC_PLLSOURCE_HSI;
  RCC_OscInitStruct.PLL.PLLMUL = RCC_PLL_MUL10;
  RCC_OscInitStruct.PLL.PREDIV = RCC_PREDIV_DIV1;
  if (HAL_RCC_OscConfig(&RCC_OscInitStruct) != HAL_OK)
  {
    _Error_Handler(__FILE__, __LINE__);
  }

    /**Initializes the CPU, AHB and APB busses clocks
    */
  RCC_ClkInitStruct.ClockType = RCC_CLOCKTYPE_HCLK|RCC_CLOCKTYPE_SYSCLK
                              |RCC_CLOCKTYPE_PCLK1;
  RCC_ClkInitStruct.SYSCLKSource = RCC_SYSCLKSOURCE_PLLCLK;
  RCC_ClkInitStruct.AHBCLKDivider = RCC_SYSCLK_DIV1;
  RCC_ClkInitStruct.APB1CLKDivider = RCC_HCLK_DIV1;

  if (HAL_RCC_ClockConfig(&RCC_ClkInitStruct, FLASH_LATENCY_1) != HAL_OK)
  {
    _Error_Handler(__FILE__, __LINE__);
  }

  PeriphClkInit.PeriphClockSelection = RCC_PERIPHCLK_RTC;
  PeriphClkInit.RTCClockSelection = RCC_RTCCLKSOURCE_LSI;
  if (HAL_RCCEx_PeriphCLKConfig(&PeriphClkInit) != HAL_OK)
  {
    _Error_Handler(__FILE__, __LINE__);
  }

    /**Configure the Systick interrupt time
    */
  HAL_SYSTICK_Config(HAL_RCC_GetHCLKFreq()/1000);

    /**Configure the Systick
    */
  HAL_SYSTICK_CLKSourceConfig(SYSTICK_CLKSOURCE_HCLK);

  /* SysTick_IRQn interrupt configuration */
  HAL_NVIC_SetPriority(SysTick_IRQn, 0, 0);
}

/* ADC init function */
static void MX_ADC_Init(void)
{

  ADC_ChannelConfTypeDef sConfig;

    /**Configure the global features of the ADC (Clock, Resolution, Data Alignment and number of conversion)
    */
  hadc.Instance = ADC1;
  hadc.Init.ClockPrescaler = ADC_CLOCK_SYNC_PCLK_DIV4;
  hadc.Init.Resolution = ADC_RESOLUTION_12B;
  hadc.Init.DataAlign = ADC_DATAALIGN_RIGHT;
  hadc.Init.ScanConvMode = ADC_SCAN_DIRECTION_FORWARD;
  hadc.Init.EOCSelection = ADC_EOC_SEQ_CONV;
  hadc.Init.LowPowerAutoWait = DISABLE;
  hadc.Init.LowPowerAutoPowerOff = DISABLE;
  hadc.Init.ContinuousConvMode = DISABLE;
  hadc.Init.DiscontinuousConvMode = DISABLE;
  hadc.Init.ExternalTrigConv = ADC_EXTERNALTRIGCONV_T3_TRGO;
  hadc.Init.ExternalTrigConvEdge = ADC_EXTERNALTRIGCONVEDGE_RISING;
  hadc.Init.DMAContinuousRequests = ENABLE;
  hadc.Init.Overrun = ADC_OVR_DATA_PRESERVED;
  if (HAL_ADC_Init(&hadc) != HAL_OK)
  {
    _Error_Handler(__FILE__, __LINE__);
  }

    /**Configure for the selected ADC regular channel to be converted.
    */
  sConfig.Channel = ADC_CHANNEL_0;
  sConfig.Rank = ADC_RANK_CHANNEL_NUMBER;
  sConfig.SamplingTime = ADC_SAMPLETIME_239CYCLES_5;
  if (HAL_ADC_ConfigChannel(&hadc, &sConfig) != HAL_OK)
  {
    _Error_Handler(__FILE__, __LINE__);
  }

    /**Configure for the selected ADC regular channel to be converted.
    */
  sConfig.Channel = ADC_CHANNEL_1;
  if (HAL_ADC_ConfigChannel(&hadc, &sConfig) != HAL_OK)
  {
    _Error_Handler(__FILE__, __LINE__);
  }

    /**Configure for the selected ADC regular channel to be converted.
    */
  sConfig.Channel = ADC_CHANNEL_2;
  if (HAL_ADC_ConfigChannel(&hadc, &sConfig) != HAL_OK)
  {
    _Error_Handler(__FILE__, __LINE__);
  }

}

/* RTC init function */
static void MX_RTC_Init(void)
{

  RTC_TimeTypeDef sTime;
  RTC_DateTypeDef sDate;

    /**Initialize RTC Only
    */
  hrtc.Instance = RTC;
  hrtc.Init.HourFormat = RTC_HOURFORMAT_24;
  hrtc.Init.AsynchPrediv = 127;
  hrtc.Init.SynchPrediv = 255;
  hrtc.Init.OutPut = RTC_OUTPUT_DISABLE;
  hrtc.Init.OutPutPolarity = RTC_OUTPUT_POLARITY_HIGH;
  hrtc.Init.OutPutType = RTC_OUTPUT_TYPE_OPENDRAIN;
  if (HAL_RTC_Init(&hrtc) != HAL_OK)
  {
    _Error_Handler(__FILE__, __LINE__);
  }

    /**Initialize RTC and set the Time and Date
    */
  sTime.Hours = 0x0;
  sTime.Minutes = 0x0;
  sTime.Seconds = 0x0;
  sTime.DayLightSaving = RTC_DAYLIGHTSAVING_NONE;
  sTime.StoreOperation = RTC_STOREOPERATION_RESET;
  if (HAL_RTC_SetTime(&hrtc, &sTime, RTC_FORMAT_BCD) != HAL_OK)
  {
    _Error_Handler(__FILE__, __LINE__);
  }

  sDate.WeekDay = RTC_WEEKDAY_MONDAY;
  sDate.Month = RTC_MONTH_JANUARY;
  sDate.Date = 0x1;
  sDate.Year = 0x0;

  if (HAL_RTC_SetDate(&hrtc, &sDate, RTC_FORMAT_BCD) != HAL_OK)
  {
    _Error_Handler(__FILE__, __LINE__);
  }

}

/* TIM1 init function */
static void MX_TIM1_Init(void)
{

  TIM_ClockConfigTypeDef sClockSourceConfig;
  TIM_MasterConfigTypeDef sMasterConfig;

  htim1.Instance = TIM1;
  htim1.Init.Prescaler = 40000;
  htim1.Init.CounterMode = TIM_COUNTERMODE_UP;
  htim1.Init.Period = 1001;
  htim1.Init.ClockDivision = TIM_CLOCKDIVISION_DIV1;
  htim1.Init.RepetitionCounter = 0;
  htim1.Init.AutoReloadPreload = TIM_AUTORELOAD_PRELOAD_DISABLE;
  if (HAL_TIM_Base_Init(&htim1) != HAL_OK)
  {
    _Error_Handler(__FILE__, __LINE__);
  }

  sClockSourceConfig.ClockSource = TIM_CLOCKSOURCE_INTERNAL;
  if (HAL_TIM_ConfigClockSource(&htim1, &sClockSourceConfig) != HAL_OK)
  {
    _Error_Handler(__FILE__, __LINE__);
  }

  sMasterConfig.MasterOutputTrigger = TIM_TRGO_UPDATE;
  sMasterConfig.MasterSlaveMode = TIM_MASTERSLAVEMODE_DISABLE;
  if (HAL_TIMEx_MasterConfigSynchronization(&htim1, &sMasterConfig) != HAL_OK)
  {
    _Error_Handler(__FILE__, __LINE__);
  }

}

/* TIM3 init function */
static void MX_TIM3_Init(void)
{

  TIM_ClockConfigTypeDef sClockSourceConfig;
  TIM_MasterConfigTypeDef sMasterConfig;

  htim3.Instance = TIM3;
  htim3.Init.Prescaler = 500;
  htim3.Init.CounterMode = TIM_COUNTERMODE_UP;
  htim3.Init.Period = 30000;
  htim3.Init.ClockDivision = TIM_CLOCKDIVISION_DIV4;
  htim3.Init.AutoReloadPreload = TIM_AUTORELOAD_PRELOAD_DISABLE;
  if (HAL_TIM_Base_Init(&htim3) != HAL_OK)
  {
    _Error_Handler(__FILE__, __LINE__);
  }

  sClockSourceConfig.ClockSource = TIM_CLOCKSOURCE_INTERNAL;
  if (HAL_TIM_ConfigClockSource(&htim3, &sClockSourceConfig) != HAL_OK)
  {
    _Error_Handler(__FILE__, __LINE__);
  }

  sMasterConfig.MasterOutputTrigger = TIM_TRGO_UPDATE;
  sMasterConfig.MasterSlaveMode = TIM_MASTERSLAVEMODE_DISABLE;
  if (HAL_TIMEx_MasterConfigSynchronization(&htim3, &sMasterConfig) != HAL_OK)
  {
    _Error_Handler(__FILE__, __LINE__);
  }

}

/* TIM14 init function */
static void MX_TIM14_Init(void)
{

  htim14.Instance = TIM14;
  htim14.Init.Prescaler = 40000;
  htim14.Init.CounterMode = TIM_COUNTERMODE_UP;
  htim14.Init.Period = 2001;
  htim14.Init.ClockDivision = TIM_CLOCKDIVISION_DIV1;
  htim14.Init.AutoReloadPreload = TIM_AUTORELOAD_PRELOAD_DISABLE;
  if (HAL_TIM_Base_Init(&htim14) != HAL_OK)
  {
    _Error_Handler(__FILE__, __LINE__);
  }

}

/* TIM16 init function */
static void MX_TIM16_Init(void)
{

  htim16.Instance = TIM16;
  htim16.Init.Prescaler = 40000;
  htim16.Init.CounterMode = TIM_COUNTERMODE_UP;
  htim16.Init.Period = 1001;
  htim16.Init.ClockDivision = TIM_CLOCKDIVISION_DIV1;
  htim16.Init.RepetitionCounter = 0;
  htim16.Init.AutoReloadPreload = TIM_AUTORELOAD_PRELOAD_DISABLE;
  if (HAL_TIM_Base_Init(&htim16) != HAL_OK)
  {
    _Error_Handler(__FILE__, __LINE__);
  }

}

static void MX_DMA_Init(void)
{
  /* DMA controller clock enable */
  __HAL_RCC_DMA1_CLK_ENABLE();

  /* DMA interrupt init */
  /* DMA1_Channel1_IRQn interrupt configuration */
  HAL_NVIC_SetPriority(DMA1_Channel1_IRQn, 0, 0);
  HAL_NVIC_EnableIRQ(DMA1_Channel1_IRQn);

}

/** Configure pins as
        * Analog
        * Input
        * Output
        * EVENT_OUT
        * EXTI
*/
static void MX_GPIO_Init(void)
{

  GPIO_InitTypeDef GPIO_InitStruct;

  /* GPIO Ports Clock Enable */
  __HAL_RCC_GPIOC_CLK_ENABLE();
  __HAL_RCC_GPIOA_CLK_ENABLE();
  __HAL_RCC_GPIOB_CLK_ENABLE();
  __HAL_RCC_GPIOF_CLK_ENABLE();

  /*Configure GPIO pin Output Level */
  HAL_GPIO_WritePin(GPIOC, BUZZER_OUT_Pin|RELAY_3_Pin, GPIO_PIN_RESET);

  /*Configure GPIO pin Output Level */
  HAL_GPIO_WritePin(GPIOA, LED_OVER_TANK_HIGH_Pin|LED_OVER_TANK_LOW_Pin|LED_SUMP_INLET_Pin|LED_SUMP_TANK_HIGH_Pin
                          |LED_SUMP_TANK_LOW_Pin|SUMP_TRIGGER_OUT_Pin|OVER_TRIGGER_OUT_Pin, GPIO_PIN_RESET);

  /*Configure GPIO pin Output Level */
  HAL_GPIO_WritePin(GPIOB, RELAY_2_Pin|RELAY_1_Pin|LED_MOTOR_ON_Pin|LED_DRY_RUN_Pin
                          |LED_VOLTAGE_HIGH_Pin|LED_VOLTAGE_LOW_Pin, GPIO_PIN_RESET);

  /*Configure GPIO pins : BUZZER_OUT_Pin RELAY_3_Pin */
  GPIO_InitStruct.Pin = BUZZER_OUT_Pin|RELAY_3_Pin;
  GPIO_InitStruct.Mode = GPIO_MODE_OUTPUT_PP;
  GPIO_InitStruct.Pull = GPIO_NOPULL;
  GPIO_InitStruct.Speed = GPIO_SPEED_FREQ_LOW;
  HAL_GPIO_Init(GPIOC, &GPIO_InitStruct);

  /*Configure GPIO pins : LED_OVER_TANK_HIGH_Pin LED_OVER_TANK_LOW_Pin LED_SUMP_INLET_Pin LED_SUMP_TANK_HIGH_Pin
                           LED_SUMP_TANK_LOW_Pin */
  GPIO_InitStruct.Pin = LED_OVER_TANK_HIGH_Pin|LED_OVER_TANK_LOW_Pin|LED_SUMP_INLET_Pin|LED_SUMP_TANK_HIGH_Pin
                          |LED_SUMP_TANK_LOW_Pin;
  GPIO_InitStruct.Mode = GPIO_MODE_OUTPUT_OD;
  GPIO_InitStruct.Pull = GPIO_NOPULL;
  GPIO_InitStruct.Speed = GPIO_SPEED_FREQ_LOW;
  HAL_GPIO_Init(GPIOA, &GPIO_InitStruct);

  /*Configure GPIO pin : POWER_INTERRUPT_Pin */
  GPIO_InitStruct.Pin = POWER_INTERRUPT_Pin;
  GPIO_InitStruct.Mode = GPIO_MODE_IT_FALLING;
  GPIO_InitStruct.Pull = GPIO_NOPULL;
  HAL_GPIO_Init(POWER_INTERRUPT_GPIO_Port, &GPIO_InitStruct);

  /*Configure GPIO pins : RELAY_2_Pin RELAY_1_Pin */
  GPIO_InitStruct.Pin = RELAY_2_Pin|RELAY_1_Pin;
  GPIO_InitStruct.Mode = GPIO_MODE_OUTPUT_PP;
  GPIO_InitStruct.Pull = GPIO_NOPULL;
  GPIO_InitStruct.Speed = GPIO_SPEED_FREQ_LOW;
  HAL_GPIO_Init(GPIOB, &GPIO_InitStruct);

  /*Configure GPIO pins : LED_MOTOR_ON_Pin LED_DRY_RUN_Pin LED_VOLTAGE_HIGH_Pin LED_VOLTAGE_LOW_Pin */
  GPIO_InitStruct.Pin = LED_MOTOR_ON_Pin|LED_DRY_RUN_Pin|LED_VOLTAGE_HIGH_Pin|LED_VOLTAGE_LOW_Pin;
  GPIO_InitStruct.Mode = GPIO_MODE_OUTPUT_OD;
  GPIO_InitStruct.Pull = GPIO_NOPULL;
  GPIO_InitStruct.Speed = GPIO_SPEED_FREQ_LOW;
  HAL_GPIO_Init(GPIOB, &GPIO_InitStruct);

  /*Configure GPIO pins : SW_RESET_Pin SUMP_SENSE_INPUT_Pin SUMP_HIGH_INPUT_Pin SUMP_LOW_INPUT_Pin */
  GPIO_InitStruct.Pin = SW_RESET_Pin|SUMP_SENSE_INPUT_Pin|SUMP_HIGH_INPUT_Pin|SUMP_LOW_INPUT_Pin;
  GPIO_InitStruct.Mode = GPIO_MODE_INPUT;
  GPIO_InitStruct.Pull = GPIO_PULLUP;
  HAL_GPIO_Init(GPIOA, &GPIO_InitStruct);

  /*Configure GPIO pins : SUMP_TRIGGER_OUT_Pin OVER_TRIGGER_OUT_Pin */
  GPIO_InitStruct.Pin = SUMP_TRIGGER_OUT_Pin|OVER_TRIGGER_OUT_Pin;
  GPIO_InitStruct.Mode = GPIO_MODE_OUTPUT_PP;
  GPIO_InitStruct.Pull = GPIO_NOPULL;
  GPIO_InitStruct.Speed = GPIO_SPEED_FREQ_LOW;
  HAL_GPIO_Init(GPIOA, &GPIO_InitStruct);

  /*Configure GPIO pins : OVER_LOW_INPUT_Pin OVER_HIGH_INPUT_Pin */
  GPIO_InitStruct.Pin = OVER_LOW_INPUT_Pin|OVER_HIGH_INPUT_Pin;
  GPIO_InitStruct.Mode = GPIO_MODE_INPUT;
  GPIO_InitStruct.Pull = GPIO_PULLUP;
  HAL_GPIO_Init(GPIOF, &GPIO_InitStruct);

  /*Configure GPIO pin : OVER_SENSE_INPUT_Pin */
  GPIO_InitStruct.Pin = OVER_SENSE_INPUT_Pin;
  GPIO_InitStruct.Mode = GPIO_MODE_INPUT;
  GPIO_InitStruct.Pull = GPIO_PULLUP;
  HAL_GPIO_Init(OVER_SENSE_INPUT_GPIO_Port, &GPIO_InitStruct);

  /* EXTI interrupt init*/
  HAL_NVIC_SetPriority(EXTI2_3_IRQn, 3, 0);
  HAL_NVIC_EnableIRQ(EXTI2_3_IRQn);

}

void _Error_Handler(char *file, int line)
{
  while(1)
  {
  }
}

/************************ (C) COPYRIGHT STMicroelectronics *****END OF FILE****/
